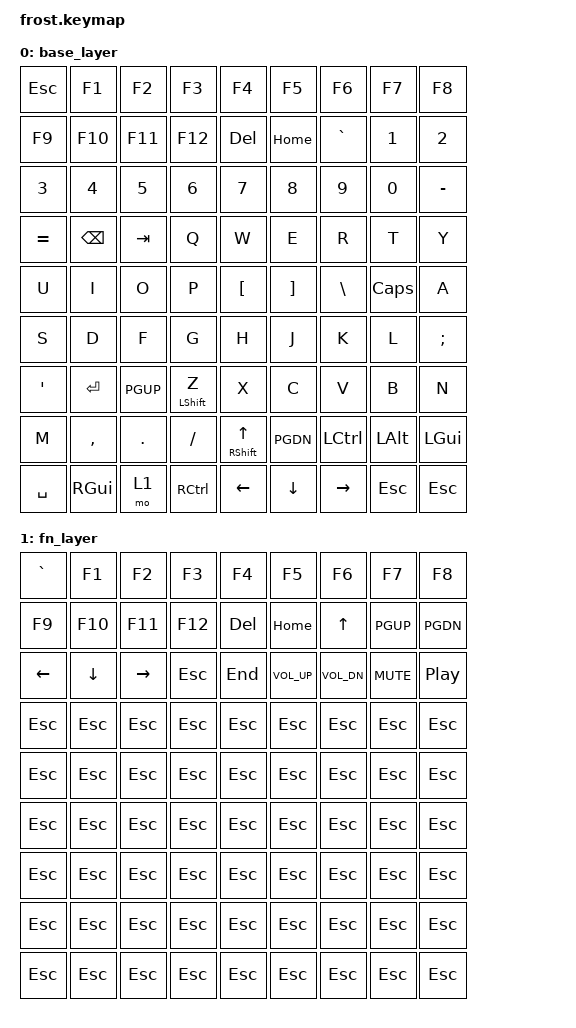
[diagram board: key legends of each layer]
#include <behaviors.dtsi>
#include <dt-bindings/zmk/keys.h>
#include <dt-bindings/zmk/bt.h>

&lt {
    tapping-term-ms = <200>;
    quick-tap-ms = <150>;
    flavor = "tap-preferred";
};

&mt {
    tapping-term-ms = <250>;
    flavor = "tap-preferred";
};

/ {
    combos {
        compatible = "zmk,combos";

        comma_semicolon {
            key-positions = <30 38>;  
            bindings = <&kp COMMA>;
        };

        dot_colon {
            key-positions = <31 39>; 
            bindings = <&kp DOT>;
        };

        shift_cap {
            key-positions = <7 16>;    
            bindings = <&caps_word>;
        };
    };


    keymap {
        compatible = "zmk,keymap";

        base_layer {
            bindings = <
                /* Row 1 */
                &kp ESC   &kp F1    &kp F2    &kp F3    &kp F4    &kp F5    &kp F6    &kp F7    &kp F8
                /* Row 2 */
                &kp F9    &kp F10   &kp F11   &kp F12   &kp DEL   &kp HOME  &kp GRAVE &kp N1    &kp N2
                /* Row 3 */
                &kp N3    &kp N4    &kp N5    &kp N6    &kp N7    &kp N8    &kp N9    &kp N0    &kp MINUS
                /* Row 4 */
                &kp EQUAL &kp BSPC  &kp TAB   &kp Q     &kp W     &kp E     &kp R     &kp T     &kp Y
                /* Row 5 */
                &kp U     &kp I     &kp O     &kp P     &kp LBKT  &kp RBKT  &kp BSLH  &kp CAPS  &kp A
                /* Row 6 */
                &kp S     &kp D     &kp F     &kp G     &kp H     &kp J     &kp K     &kp L     &kp SEMI
                /* Row 7 */
                &kp SQT   &kp ENTER &kp PGUP  &mt LEFT_SHIFT Z  &kp X     &kp C     &kp V     &kp B     &kp N
                /* Row 8 */
                &kp M     &kp COMMA &kp DOT   &kp SLASH &mt RIGHT_SHIFT UP  &kp PGDN  &kp LCTRL &kp LALT  &kp LGUI
                /* Row 9 */
                &kp SPACE &kp RGUI  &mo 1     &kp RCTRL &kp LEFT  &kp DOWN  &kp RIGHT &kp ESC   &kp ESC
            >;
        };

        fn_layer {
            bindings = <
                /* Row 1 */
                &kp GRAVE &kp F1    &kp F2    &kp F3    &kp F4    &kp F5    &kp F6    &kp F7    &kp F8
                /* Row 2 */
                &kp F9    &kp F10   &kp F11   &kp F12   &kp DEL   &kp HOME  &kp UP    &kp PGUP  &kp PGDN
                /* Row 3 */
                &kp LEFT  &kp DOWN  &kp RIGHT &kp ESC   &kp END   &kp C_VOL_UP  &kp C_VOL_DN  &kp C_MUTE  &kp C_PP
                /* Row 4 */
                &kp ESC   &kp ESC   &kp ESC   &kp ESC   &kp ESC   &kp ESC   &kp ESC   &kp ESC   &kp ESC
                /* Row 5 */
                &kp ESC   &kp ESC   &kp ESC   &kp ESC   &kp ESC   &kp ESC   &kp ESC   &kp ESC   &kp ESC
                /* Row 6 */
                &kp ESC   &kp ESC   &kp ESC   &kp ESC   &kp ESC   &kp ESC   &kp ESC   &kp ESC   &kp ESC
                /* Row 7 */
                &kp ESC   &kp ESC   &kp ESC   &kp ESC   &kp ESC   &kp ESC   &kp ESC   &kp ESC   &kp ESC
                /* Row 8 */
                &kp ESC   &kp ESC   &kp ESC   &kp ESC   &kp ESC   &kp ESC   &kp ESC   &kp ESC   &kp ESC
                /* Row 9 */
                &kp ESC   &kp ESC   &kp ESC   &kp ESC   &kp ESC   &kp ESC   &kp ESC   &kp ESC   &kp ESC
            >;
        };
    };
};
